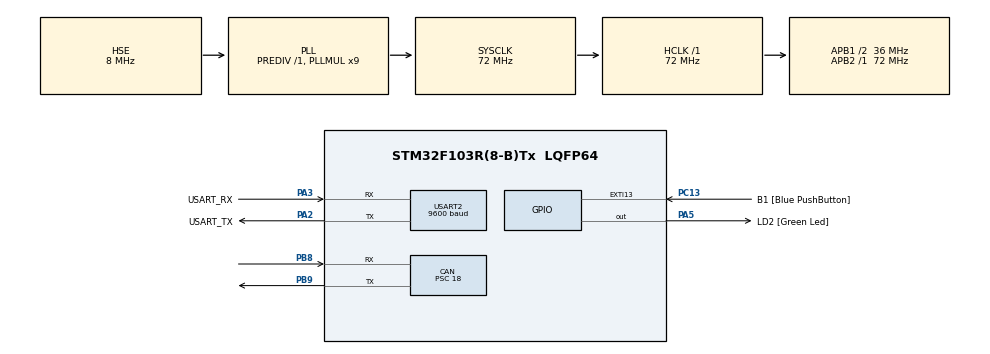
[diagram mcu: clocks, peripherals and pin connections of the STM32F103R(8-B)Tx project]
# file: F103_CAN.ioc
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CAN.BS1=CAN_BS1_7TQ
CAN.BS2=CAN_BS2_8TQ
CAN.CalculateBaudRate=125000
CAN.CalculateTimeBit=8000
CAN.CalculateTimeQuantum=500.0
CAN.Mode=CAN_MODE_NORMAL
CAN.NART=DISABLE
CAN.Prescaler=18
CAN.RFLM=DISABLE
Mcu.Family=STM32F1
Mcu.Name=STM32F103R(8-B)Tx
Mcu.Package=LQFP64
NVIC.CAN1_RX1_IRQn=true\:0\:0\:false\:false\:true\:true\:true\:true
NVIC.EXTI15_10_IRQn=true\:0\:0\:false\:false\:true\:true\:true\:true
NVIC.PriorityGroup=NVIC_PRIORITYGROUP_4
NVIC.USART2_IRQn=true\:0\:0\:false\:false\:true\:true\:true\:true
NVIC.USB_LP_CAN1_RX0_IRQn=true\:0\:0\:false\:false\:true\:true\:true\:true
PA13.GPIO_Label=TMS
PA13.Mode=Serial_Wire
PA13.Signal=SYS_JTMS-SWDIO
PA14.GPIO_Label=TCK
PA14.Mode=Serial_Wire
PA14.Signal=SYS_JTCK-SWCLK
PA2.GPIO_Label=USART_TX
PA2.GPIO_Mode=GPIO_MODE_AF_PP
PA2.GPIO_PuPd=GPIO_NOPULL
PA2.GPIO_Speed=GPIO_SPEED_FREQ_LOW
PA2.Mode=Asynchronous
PA2.Signal=USART2_TX
PA3.GPIO_Label=USART_RX
PA3.GPIO_Mode=GPIO_MODE_AF_PP
PA3.GPIO_PuPd=GPIO_NOPULL
PA3.GPIO_Speed=GPIO_SPEED_FREQ_LOW
PA3.Mode=Asynchronous
PA3.Signal=USART2_RX
PA5.GPIO_Label=LD2 [Green Led]
PA5.GPIO_ModeDefaultOutputPP=GPIO_MODE_OUTPUT_PP
PA5.GPIO_PuPd=GPIO_NOPULL
PA5.GPIO_Speed=GPIO_SPEED_FREQ_LOW
PA5.Signal=GPIO_Output
PB3.GPIO_Label=SWO
PB3.Signal=SYS_JTDO-TRACESWO
PB8.Mode=CAN_Activate
PB8.Signal=CAN_RX
PB9.Mode=CAN_Activate
PB9.Signal=CAN_TX
PC13-TAMPER-RTC.GPIO_Label=B1 [Blue PushButton]
PC13-TAMPER-RTC.GPIO_PuPd=GPIO_NOPULL
PC13-TAMPER-RTC.Signal=GPXTI13
PC14-OSC32_IN.Mode=LSE-External-Oscillator
PC14-OSC32_IN.Signal=RCC_OSC32_IN
PC15-OSC32_OUT.Mode=LSE-External-Oscillator
PC15-OSC32_OUT.Signal=RCC_OSC32_OUT
PD0-OSC_IN.Mode=HSE-External-Clock-Source
PD0-OSC_IN.Signal=RCC_OSC_IN
PD1-OSC_OUT.Mode=HSE-External-Clock-Source
PD1-OSC_OUT.Signal=RCC_OSC_OUT
ProjectManager.HeapSize=0x200
ProjectManager.StackSize=0x400
ProjectManager.TargetToolchain=STM32CubeIDE
RCC.AHBFreq_Value=72000000
RCC.APB1CLKDivider=RCC_HCLK_DIV2
RCC.APB1Freq_Value=36000000
RCC.APB1TimFreq_Value=72000000
RCC.APB2Freq_Value=72000000
RCC.APB2TimFreq_Value=72000000
RCC.HCLKFreq_Value=72000000
RCC.PLLMUL=RCC_PLL_MUL9
RCC.PLLSourceVirtual=RCC_PLLSOURCE_HSE
RCC.RTCClockSelection=RCC_RTCCLKSOURCE_LSE
RCC.SYSCLKFreq_VALUE=72000000
RCC.SYSCLKSource=RCC_SYSCLKSOURCE_PLLCLK
RCC.USBFreq_Value=72000000
USART2.BaudRate=9600
USART2.VirtualMode=VM_ASYNC
board=NUCLEO-F103RB

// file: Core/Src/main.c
/* USER CODE BEGIN Header */
/* USER CODE END Header */
#include "main.h"

/* USER CODE BEGIN Includes */
#include <string.h>
#include <stdarg.h>
/* USER CODE END Includes */

 CAN_HandleTypeDef hcan;

UART_HandleTypeDef huart2;

/* USER CODE BEGIN PV */
volatile uint8_t recvFlag = 0;
volatile uint8_t recvUart = 0;
uint16_t ODBfilterID = 0;
uint16_t ODBfilterMaskID = 0xFFFF;
/* USER CODE END PV */

void SystemClock_Config(void);
static void MX_GPIO_Init(void);
static void MX_USART2_UART_Init(void);
static void MX_CAN_Init(void);

/* USER CODE BEGIN 0 */

CAN_TxHeaderTypeDef TxHeader;
CAN_RxHeaderTypeDef RxHeader;

uint32_t TxMailbox;
uint8_t TxData[8];
uint8_t RxData[8];

uint8_t count = 0;

uint8_t ramka_uart[11];
uint8_t ramka_config[7];

void HAL_UART_RxCpltCallback(UART_HandleTypeDef *huart){
	recvUart = 1;
	HAL_UART_Receive_IT(&huart2, ramka_config, 7); // Ponowne włączenie nasłuchiwania
}

void myprintf(const char *fmt, ...) {
	static char buffer[40];
	va_list args;
	va_start(args, fmt);
	vsnprintf(buffer, sizeof(buffer), fmt, args);
	va_end(args);
	int len = strlen(buffer);

	HAL_UART_Transmit(&huart2, (uint8_t*) buffer, len, -1);

}

void HAL_CAN_RxFifo0MsgPendingCallback(CAN_HandleTypeDef *hcan) {
	HAL_CAN_GetRxMessage(hcan, CAN_RX_FIFO0, &RxHeader, RxData);
	recvFlag = 1;
}

/* USER CODE END 0 */

int main(void)
{

  /* MCU Configuration--------------------------------------------------------*/

  /* Reset of all peripherals, Initializes the Flash interface and the Systick. */
  HAL_Init();

  /* Configure the system clock */
  SystemClock_Config();

  /* Initialize all configured peripherals */
  MX_GPIO_Init();
  MX_USART2_UART_Init();
  MX_CAN_Init();
  /* USER CODE BEGIN 2 */

	HAL_CAN_Start(&hcan);

	HAL_CAN_ActivateNotification(&hcan, CAN_IT_RX_FIFO0_MSG_PENDING);

	TxHeader.DLC = 1;
	TxHeader.ExtId = 0;
	TxHeader.IDE = CAN_ID_STD;
	TxHeader.RTR = CAN_RTR_DATA;
	TxHeader.StdId = 0x103;
	TxHeader.TransmitGlobalTime = DISABLE;

	TxData[0] = 0xf3;

	HAL_GPIO_WritePin(LD2_GPIO_Port, LD2_Pin, 1);

  /* USER CODE END 2 */

  /* Infinite loop */
  /* USER CODE BEGIN WHILE */
	while (1) {

		HAL_UART_Receive_IT(&huart2, ramka_config, 7);

		if(recvUart == 1){
			recvUart = 0;
			HAL_CAN_Stop(&hcan);

			  hcan.Instance = CAN1;
			  hcan.Init.Prescaler = ramka_config[0];
			  hcan.Init.Mode = CAN_MODE_NORMAL;
			  hcan.Init.SyncJumpWidth = CAN_SJW_1TQ;

			  switch(ramka_config[1]){
			  case 1:
				hcan.Init.TimeSeg1 = CAN_BS1_1TQ;
				break;
			  case 2:
			  	hcan.Init.TimeSeg1 = CAN_BS1_2TQ;
			  	break;
			  case 3:
			  	hcan.Init.TimeSeg1 = CAN_BS1_3TQ;
			  	break;
			  case 4:
			  	hcan.Init.TimeSeg1 = CAN_BS1_4TQ;
			  	break;
			  case 5:
			  	hcan.Init.TimeSeg1 = CAN_BS1_5TQ;
			  	break;
			  case 6:
			  	hcan.Init.TimeSeg1 = CAN_BS1_6TQ;
			  	break;
			  case 7:
			  	hcan.Init.TimeSeg1 = CAN_BS1_7TQ;
			  	break;
			  case 8:
			  	hcan.Init.TimeSeg1 = CAN_BS1_8TQ;
			  	break;
			  case 9:
				hcan.Init.TimeSeg1 = CAN_BS1_9TQ;
				break;
			  case 10:
			  	hcan.Init.TimeSeg1 = CAN_BS1_10TQ;
			  	break;
			  case 11:
			  	hcan.Init.TimeSeg1 = CAN_BS1_11TQ;
			  	break;
			  case 12:
			  	hcan.Init.TimeSeg1 = CAN_BS1_12TQ;
			  	break;
			  case 13:
			  	hcan.Init.TimeSeg1 = CAN_BS1_13TQ;
			  	break;
			  case 14:
			  	hcan.Init.TimeSeg1 = CAN_BS1_14TQ;
			  	break;
			  case 15:
			  	hcan.Init.TimeSeg1 = CAN_BS1_15TQ;
			  	break;
			  case 16:
			  	hcan.Init.TimeSeg1 = CAN_BS1_16TQ;
			  	break;
			  }

			  switch(ramka_config[2]){
			  case 1:
				hcan.Init.TimeSeg2 = CAN_BS2_1TQ;
				break;
			  case 2:
			  	hcan.Init.TimeSeg2 = CAN_BS2_2TQ;
			  	break;
			  case 3:
			  	hcan.Init.TimeSeg2 = CAN_BS2_3TQ;
			  	break;
			  case 4:
			  	hcan.Init.TimeSeg2 = CAN_BS2_4TQ;
			  	break;
			  case 5:
			  	hcan.Init.TimeSeg2 = CAN_BS2_5TQ;
			  	break;
			  case 6:
			  	hcan.Init.TimeSeg2 = CAN_BS2_6TQ;
			  	break;
			  case 7:
			  	hcan.Init.TimeSeg2 = CAN_BS2_7TQ;
			  	break;
			  case 8:
			  	hcan.Init.TimeSeg2 = CAN_BS2_8TQ;
			  	break;

			  }
			  hcan.Init.TimeTriggeredMode = DISABLE;
			  hcan.Init.AutoBusOff = DISABLE;
			  hcan.Init.AutoWakeUp = DISABLE;
			  hcan.Init.AutoRetransmission = DISABLE;
			  hcan.Init.ReceiveFifoLocked = DISABLE;
			  hcan.Init.TransmitFifoPriority = DISABLE;
			  if (HAL_CAN_Init(&hcan) != HAL_OK)
			  {
			    Error_Handler();
			  }

			  ODBfilterID = (ramka_config[3]<<8) + ramka_config[4];
			  ODBfilterMaskID = (ramka_config[5]<<8) + ramka_config[6];

			CAN_FilterTypeDef canfilterconfig;

			canfilterconfig.FilterActivation = CAN_FILTER_ENABLE;
			canfilterconfig.FilterBank = 8; // which filter bank to use from the assigned ones
			canfilterconfig.FilterFIFOAssignment = CAN_RX_FIFO0;
			canfilterconfig.FilterIdHigh = 0x0000;
			canfilterconfig.FilterIdLow = ODBfilterID;
			canfilterconfig.FilterMaskIdHigh = 0x0000;
			canfilterconfig.FilterMaskIdLow = ODBfilterMaskID;
			canfilterconfig.FilterMode = CAN_FILTERMODE_IDMASK;
			canfilterconfig.FilterScale = CAN_FILTERSCALE_16BIT;
			canfilterconfig.SlaveStartFilterBank = 10; // how many filters to assign to the CAN1 (master can)

			HAL_CAN_ConfigFilter(&hcan, &canfilterconfig);

			HAL_CAN_Start(&hcan);
		}

		if (recvFlag == 1) {							//if wykonywany gdy nastąpiło przerwanie od CAN i ustawiona została flaga recvFlag
			recvFlag = 0;								//zerowanie flagi

			ramka_uart[0] = (RxHeader.StdId >> 3);		//pierwszy bajt i pierwsze 8 bit adresu
			ramka_uart[1] = (RxHeader.StdId << 5) + (RxHeader.RTR << 4) + (RxHeader.IDE << 3) + RxHeader.DLC; //reszta adresu + RTR + IDE + DLC
			for(int i = 0; i<RxHeader.DLC ; i++){   	//wpisywanie danych do tablicy
				ramka_uart[2+i] = RxData[i];
			}
			ramka_uart[RxHeader.DLC+2] = 0x0a; 			// Wyslanie kodu nowej linii "\n" dla latwiejszego rozdzielania ramek przez aplikacje
			if(RxHeader.DLC<8){							//wykonaj tylko jeżeli nie wykorzystujemy wszystkich bajtów tablicy
				for(int i = RxHeader.DLC; i<10; i++){	//nieuzywane bajty = 0 (nie trzeba tal ale łatwiej debugować i czytać)
					ramka_uart[3+i] = 0;
				}
			}
			HAL_UART_Transmit(&huart2, (uint8_t*) ramka_uart, 3+RxHeader.DLC, -1);	//wysylanie po uarcie potrzebnej ilosci bajtow, timeout=inf
		}

    /* USER CODE END WHILE */

	}
}

void SystemClock_Config(void)
{
  RCC_OscInitTypeDef RCC_OscInitStruct = {0};
  RCC_ClkInitTypeDef RCC_ClkInitStruct = {0};

  /** Initializes the RCC Oscillators according to the specified parameters
  * in the RCC_OscInitTypeDef structure.
  */
  RCC_OscInitStruct.OscillatorType = RCC_OSCILLATORTYPE_HSE;
  RCC_OscInitStruct.HSEState = RCC_HSE_BYPASS;
  RCC_OscInitStruct.HSEPredivValue = RCC_HSE_PREDIV_DIV1;
  RCC_OscInitStruct.HSIState = RCC_HSI_ON;
  RCC_OscInitStruct.PLL.PLLState = RCC_PLL_ON;
  RCC_OscInitStruct.PLL.PLLSource = RCC_PLLSOURCE_HSE;
  RCC_OscInitStruct.PLL.PLLMUL = RCC_PLL_MUL9;
  if (HAL_RCC_OscConfig(&RCC_OscInitStruct) != HAL_OK)
  {
    Error_Handler();
  }

  /** Initializes the CPU, AHB and APB buses clocks
  */
  RCC_ClkInitStruct.ClockType = RCC_CLOCKTYPE_HCLK|RCC_CLOCKTYPE_SYSCLK
                              |RCC_CLOCKTYPE_PCLK1|RCC_CLOCKTYPE_PCLK2;
  RCC_ClkInitStruct.SYSCLKSource = RCC_SYSCLKSOURCE_PLLCLK;
  RCC_ClkInitStruct.AHBCLKDivider = RCC_SYSCLK_DIV1;
  RCC_ClkInitStruct.APB1CLKDivider = RCC_HCLK_DIV2;
  RCC_ClkInitStruct.APB2CLKDivider = RCC_HCLK_DIV1;

  if (HAL_RCC_ClockConfig(&RCC_ClkInitStruct, FLASH_LATENCY_2) != HAL_OK)
  {
    Error_Handler();
  }
}

static void MX_CAN_Init(void)
{

  hcan.Instance = CAN1;
  hcan.Init.Prescaler = 18;
  hcan.Init.Mode = CAN_MODE_NORMAL;
  hcan.Init.SyncJumpWidth = CAN_SJW_1TQ;
  hcan.Init.TimeSeg1 = CAN_BS1_7TQ;
  hcan.Init.TimeSeg2 = CAN_BS2_8TQ;
  hcan.Init.TimeTriggeredMode = DISABLE;
  hcan.Init.AutoBusOff = DISABLE;
  hcan.Init.AutoWakeUp = DISABLE;
  hcan.Init.AutoRetransmission = DISABLE;
  hcan.Init.ReceiveFifoLocked = DISABLE;
  hcan.Init.TransmitFifoPriority = DISABLE;
  if (HAL_CAN_Init(&hcan) != HAL_OK)
  {
    Error_Handler();
  }
  /* USER CODE BEGIN CAN_Init 2 */

	CAN_FilterTypeDef canfilterconfig;

	canfilterconfig.FilterActivation = CAN_FILTER_ENABLE;
	canfilterconfig.FilterBank = 8; // which filter bank to use from the assigned ones
	canfilterconfig.FilterFIFOAssignment = CAN_RX_FIFO0;
	canfilterconfig.FilterIdHigh = 0x0000;
	canfilterconfig.FilterIdLow = 0x0000;
	canfilterconfig.FilterMaskIdHigh = 0x0000;
	canfilterconfig.FilterMaskIdLow = 0xffff;
	canfilterconfig.FilterMode = CAN_FILTERMODE_IDMASK;
	canfilterconfig.FilterScale = CAN_FILTERSCALE_16BIT;
	canfilterconfig.SlaveStartFilterBank = 10; // how many filters to assign to the CAN1 (master can)

	HAL_CAN_ConfigFilter(&hcan, &canfilterconfig);
  /* USER CODE END CAN_Init 2 */

}

static void MX_USART2_UART_Init(void)
{

  huart2.Instance = USART2;
  huart2.Init.BaudRate = 9600;
  huart2.Init.WordLength = UART_WORDLENGTH_8B;
  huart2.Init.StopBits = UART_STOPBITS_1;
  huart2.Init.Parity = UART_PARITY_NONE;
  huart2.Init.Mode = UART_MODE_TX_RX;
  huart2.Init.HwFlowCtl = UART_HWCONTROL_NONE;
  huart2.Init.OverSampling = UART_OVERSAMPLING_16;
  if (HAL_UART_Init(&huart2) != HAL_OK)
  {
    Error_Handler();
  }

}

static void MX_GPIO_Init(void)
{
  GPIO_InitTypeDef GPIO_InitStruct = {0};

  /* GPIO Ports Clock Enable */
  __HAL_RCC_GPIOC_CLK_ENABLE();
  __HAL_RCC_GPIOD_CLK_ENABLE();
  __HAL_RCC_GPIOA_CLK_ENABLE();
  __HAL_RCC_GPIOB_CLK_ENABLE();

  /*Configure GPIO pin Output Level */
  HAL_GPIO_WritePin(LD2_GPIO_Port, LD2_Pin, GPIO_PIN_RESET);

  /*Configure GPIO pin : B1_Pin */
  GPIO_InitStruct.Pin = B1_Pin;
  GPIO_InitStruct.Mode = GPIO_MODE_IT_RISING;
  GPIO_InitStruct.Pull = GPIO_NOPULL;
  HAL_GPIO_Init(B1_GPIO_Port, &GPIO_InitStruct);

  /*Configure GPIO pin : LD2_Pin */
  GPIO_InitStruct.Pin = LD2_Pin;
  GPIO_InitStruct.Mode = GPIO_MODE_OUTPUT_PP;
  GPIO_InitStruct.Pull = GPIO_NOPULL;
  GPIO_InitStruct.Speed = GPIO_SPEED_FREQ_LOW;
  HAL_GPIO_Init(LD2_GPIO_Port, &GPIO_InitStruct);

  /* EXTI interrupt init*/
  HAL_NVIC_SetPriority(EXTI15_10_IRQn, 0, 0);
  HAL_NVIC_EnableIRQ(EXTI15_10_IRQn);

}

void Error_Handler(void)
{
}
